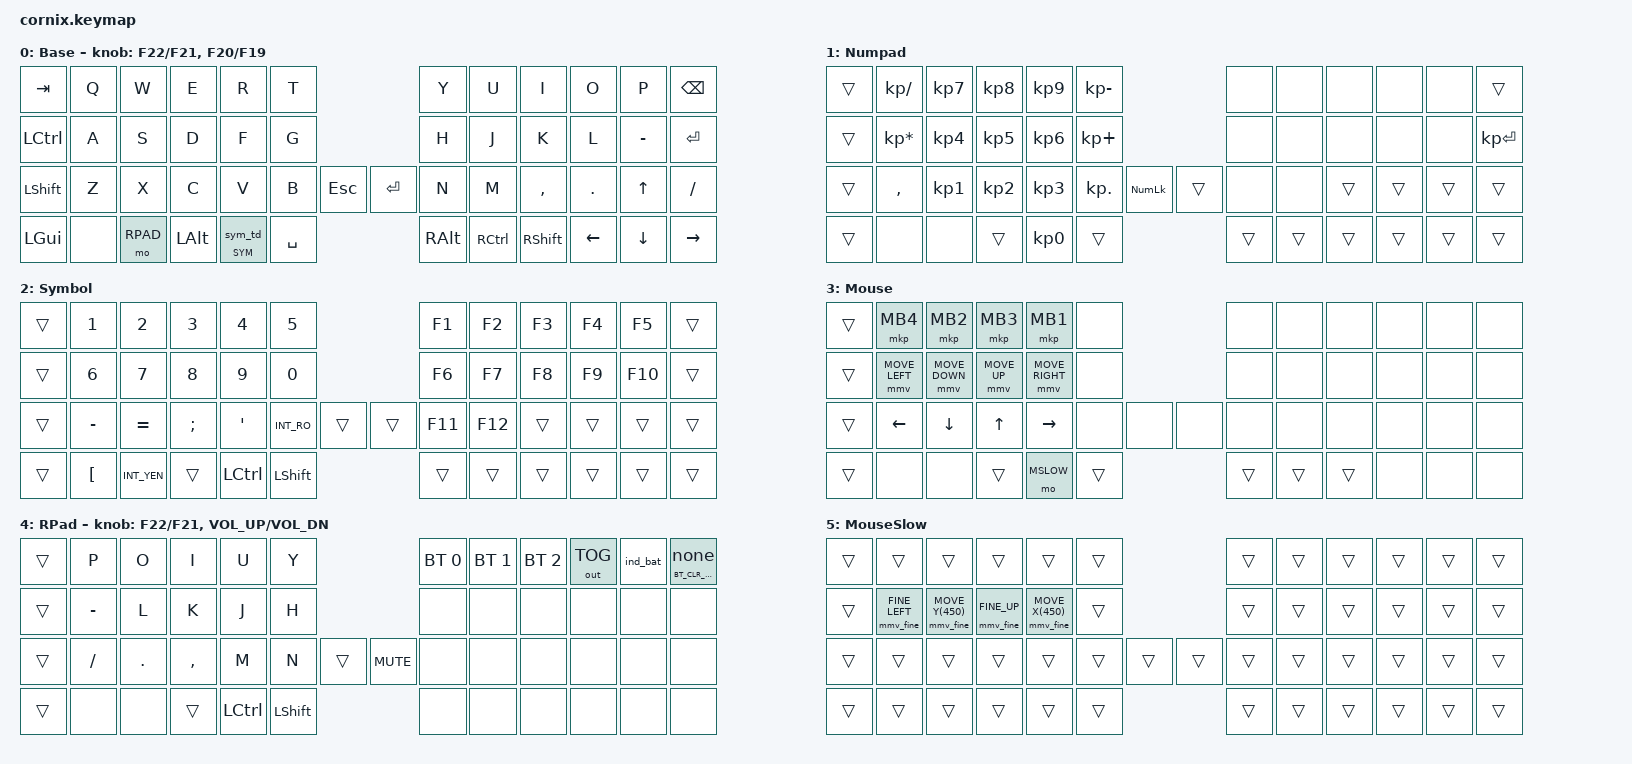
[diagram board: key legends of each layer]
/*
 * Cornix — Vial 配列からの移植
 * 元ファイル：vil/2026-09-09_cornix_vial.vil
 * 生成：scripts/vil2zmk.py（キー番号の対応は config/includes/cornix54.h の図を参照）
 * キー配置は .vil が元。変えた位置は vil2zmk.py の POS_OVERRIDE、コンボは COMBOS 表（.vil のコンボは使わない）
 * ZMK 側だけで足したもの：精密移動の層 MSLOW（EXTRA_LAYER_* / MOUSE_FINE_*）、コンボの誤爆ガード（COMBO_PRIOR_IDLE_MS）、加速スクロール（SCROLL_*）
 */

// マウスキーの通常の速度（pointing.h の MOVE_UP などが使う値）。include より前に書く
#define ZMK_POINTING_DEFAULT_MOVE_VAL 2000

#include <behaviors.dtsi>
#include <dt-bindings/zmk/bt.h>
#include <dt-bindings/zmk/keys.h>
#include <dt-bindings/zmk/outputs.h>
#include <dt-bindings/zmk/pointing.h>
#include <input/processors.dtsi>
#include <behaviors/rgbled_widget.dtsi>

#define BASE 0
#define NUMPAD 1
#define SYM 2
#define MOUSE 3
#define RPAD 4
#define MSLOW 5

// 加速スクロール（&ascrl）の向き。src/behaviors/behavior_accel_scroll.c と揃える
#define SCRL_ACCEL_UP 1
#define SCRL_ACCEL_DN 2

// マウスキー（通常）：150ms かけて 2000 px/秒まで上がる
&mmv {
    time-to-max-speed-ms = <150>;
    acceleration-exponent = <1>;
};

// マウスキー（精密）の向き。450 px/秒が上限
#define FINE_LEFT MOVE_X(-450)
#define FINE_RIGHT MOVE_X(450)
#define FINE_UP MOVE_Y(-450)
#define FINE_DOWN MOVE_Y(450)

/ {
    behaviors {
        // 誤操作でPCとのペアリングを消さないよう、3秒長押しでだけ Clear BT
        bt_clr_hold: bt_clr_hold {
            compatible = "zmk,behavior-hold-tap";
            #binding-cells = <2>;
            bindings = <&bt>, <&none>;
            flavor = "tap-preferred";
            tapping-term-ms = <3000>;
        };
        // 数・記号キー：外側が長押し判定、内側がタップダンス（2026-10-02 組み替え）
        //   長押し＝押している間 数・記号（別のキーを押した瞬間に確定）
        //   タップ＝次の1キーだけ 数・記号／2回タップ＝次の1キーだけ R pad
        // 次の1キーだけ有効な層。標準の &sl と違い、修飾キーを押しても切れない
        sl_m: sl_m {
            compatible = "zmk,behavior-sticky-key";
            #binding-cells = <1>;
            release-after-ms = <3000>;
            bindings = <&mo>;
            quick-release;
            ignore-modifiers;
        };
        sym_td: sym_td {
            compatible = "zmk,behavior-tap-dance";
            #binding-cells = <0>;
            tapping-term-ms = <300>;
            bindings = <&sl_m SYM>, <&sl_m RPAD>;
        };
        sym_ht: sym_ht {
            compatible = "zmk,behavior-hold-tap";
            #binding-cells = <2>;
            bindings = <&mo>, <&sym_td>;
            flavor = "hold-preferred";
            tapping-term-ms = <150>;
        };
        // 加速スクロール：単押しで 3 ノッチ。押し続けると 220ms 後から 40ms ごとに送り、
        // 1回の量が 360ms かけて 3 → 6 ノッチまで増える。離したら即停止
        ascrl: accel_scroll {
            compatible = "zmk,behavior-accel-scroll";
            #binding-cells = <1>;
            tap-notches = <3>;
            hold-delay-ms = <220>;
            interval-ms = <40>;
            start-notches = <3>;
            max-notches = <6>;
            ramp-ms = <360>;
        };
        // マウスキー（精密）：マウス層で 42 を押している間（MSLOW 層）の移動キー。
        // 500ms かけて 450 px/秒まで上がる。単押しなら数 px
        mmv_fine: mouse_move_fine {
            compatible = "zmk,behavior-input-two-axis";
            #binding-cells = <1>;
            x-input-code = <INPUT_REL_X>;
            y-input-code = <INPUT_REL_Y>;
            time-to-max-speed-ms = <500>;
            acceleration-exponent = <1>;
        };
    };

    // マウスキー（精密）の受け口。無いとホストに届かない
    mmv_fine_input_listener {
        compatible = "zmk,input-listener";
        device = <&mmv_fine>;
    };

    // 加速スクロールの受け口。無いとホストに届かない
    ascrl_input_listener {
        compatible = "zmk,input-listener";
        device = <&ascrl>;
    };

    combos {
        compatible = "zmk,combos";
        // W+E → 上スクロール（加速つき）
        combo_00 {
            timeout-ms = <40>;
            require-prior-idle-ms = <250>;
            key-positions = <2 3>;
            bindings = <&ascrl SCRL_ACCEL_UP>;
            layers = <BASE>;
        };
        // A+S → Esc。as はローマ字に多い（masu 等）ので必ずガード
        combo_01 {
            timeout-ms = <40>;
            require-prior-idle-ms = <250>;
            key-positions = <13 14>;
            bindings = <&kp ESC>;
            layers = <BASE>;
        };
        // S+D → 下スクロール（加速つき）
        combo_02 {
            timeout-ms = <40>;
            require-prior-idle-ms = <250>;
            key-positions = <14 15>;
            bindings = <&ascrl SCRL_ACCEL_DN>;
            layers = <BASE>;
        };
        // D+F → 無変換。ローマ字の直後に押す。df はローマ字に出ない（誤爆ガードなし）
        combo_03 {
            timeout-ms = <40>;
            key-positions = <15 16>;
            bindings = <&kp INT_MUHENKAN>;
            layers = <BASE>;
        };
        // Z+X → Del
        combo_04 {
            timeout-ms = <40>;
            require-prior-idle-ms = <250>;
            key-positions = <25 26>;
            bindings = <&kp DEL>;
            layers = <BASE>;
        };
        // X+C → BS。打ち間違いの直後に押す（誤爆ガードなし）
        combo_05 {
            timeout-ms = <40>;
            key-positions = <26 27>;
            bindings = <&kp BSPC>;
            layers = <BASE>;
        };
        // C+V → Enter。打ち終わった直後に確定（誤爆ガードなし）
        combo_06 {
            timeout-ms = <40>;
            key-positions = <27 28>;
            bindings = <&kp RET>;
            layers = <BASE>;
        };
        // X+C+V → Ctrl+Enter。誤爆すると送信してしまう
        combo_07 {
            timeout-ms = <60>;
            require-prior-idle-ms = <250>;
            key-positions = <26 27 28>;
            bindings = <&kp LC(RET)>;
            layers = <BASE>;
        };
        // S+D+F ／ 4+5+6 → Num pad 層 ON/OFF
        combo_08 {
            timeout-ms = <60>;
            require-prior-idle-ms = <250>;
            key-positions = <14 15 16>;
            bindings = <&tog NUMPAD>;
            layers = <BASE NUMPAD>;
        };
        // A+S+D+F ／ Left+Down+Up+Right → マウス層 ON/OFF
        combo_09 {
            timeout-ms = <60>;
            require-prior-idle-ms = <250>;
            key-positions = <13 14 15 16>;
            bindings = <&tog MOUSE>;
            layers = <BASE MOUSE MSLOW>;
        };
        // P+BS → Del
        combo_10 {
            timeout-ms = <40>;
            require-prior-idle-ms = <250>;
            key-positions = <10 11>;
            bindings = <&kp DEL>;
            layers = <BASE>;
        };
        // I+O → [（JIS）
        combo_11 {
            timeout-ms = <40>;
            require-prior-idle-ms = <250>;
            key-positions = <8 9>;
            bindings = <&kp RBKT>;
            layers = <BASE>;
        };
        // J+K → 変換。ローマ字の直後に押す。jk はローマ字に出ない（誤爆ガードなし）
        combo_12 {
            timeout-ms = <40>;
            key-positions = <19 20>;
            bindings = <&kp INT_HENKAN>;
            layers = <BASE>;
        };
        // K+L → ]（JIS）
        combo_13 {
            timeout-ms = <40>;
            require-prior-idle-ms = <250>;
            key-positions = <20 21>;
            bindings = <&kp NON_US_HASH>;
            layers = <BASE>;
        };
        // ,+. → @（JIS）
        combo_14 {
            timeout-ms = <40>;
            require-prior-idle-ms = <250>;
            key-positions = <34 35>;
            bindings = <&kp LBKT>;
            layers = <BASE NUMPAD SYM>;
        };
        // .+↑ → PgUp
        combo_15 {
            timeout-ms = <40>;
            require-prior-idle-ms = <250>;
            key-positions = <35 36>;
            bindings = <&kp PG_UP>;
            layers = <BASE NUMPAD SYM>;
        };
        // ↑+/ → PgDn
        combo_16 {
            timeout-ms = <40>;
            require-prior-idle-ms = <250>;
            key-positions = <36 37>;
            bindings = <&kp PG_DN>;
            layers = <BASE NUMPAD SYM>;
        };
        // ←+↓ → Home。矢印同士（誤爆ガードなし）
        combo_17 {
            timeout-ms = <40>;
            key-positions = <47 48>;
            bindings = <&kp HOME>;
            layers = <BASE NUMPAD SYM>;
        };
        // ↓+→ → End。矢印同士（誤爆ガードなし）
        combo_18 {
            timeout-ms = <40>;
            key-positions = <48 49>;
            bindings = <&kp END>;
            layers = <BASE NUMPAD SYM>;
        };
        // ,+1 → Del（誤爆ガードなし）
        combo_19 {
            timeout-ms = <40>;
            key-positions = <25 26>;
            bindings = <&kp DEL>;
            layers = <NUMPAD>;
        };
        // 1+2 → BS（誤爆ガードなし）
        combo_20 {
            timeout-ms = <40>;
            key-positions = <26 27>;
            bindings = <&kp BSPC>;
            layers = <NUMPAD>;
        };
        // 2+3 → Num Enter（誤爆ガードなし）
        combo_21 {
            timeout-ms = <40>;
            key-positions = <27 28>;
            bindings = <&kp KP_ENTER>;
            layers = <NUMPAD>;
        };
        // 1+2+3 → Ctrl+Enter（誤爆ガードなし）
        combo_22 {
            timeout-ms = <60>;
            key-positions = <26 27 28>;
            bindings = <&kp LC(RET)>;
            layers = <NUMPAD>;
        };
        // Click2+Click3 → 上スクロール（加速つき）（誤爆ガードなし）
        combo_23 {
            timeout-ms = <40>;
            key-positions = <2 3>;
            bindings = <&ascrl SCRL_ACCEL_UP>;
            layers = <MOUSE MSLOW>;
        };
        // Down+Up → 下スクロール（加速つき）（誤爆ガードなし）
        combo_24 {
            timeout-ms = <40>;
            key-positions = <14 15>;
            bindings = <&ascrl SCRL_ACCEL_DN>;
            layers = <MOUSE MSLOW>;
        };
        // Left+Down → Esc（Base の A+S と同じ位置。2026-11-13。左下の斜め移動は使えない）（誤爆ガードなし）
        combo_25 {
            timeout-ms = <40>;
            key-positions = <13 14>;
            bindings = <&kp ESC>;
            layers = <MOUSE MSLOW>;
        };
        // ←+↓ → Del（誤爆ガードなし）
        combo_26 {
            timeout-ms = <40>;
            key-positions = <25 26>;
            bindings = <&kp DEL>;
            layers = <MOUSE MSLOW>;
        };
        // ↓+↑ → BS（誤爆ガードなし）
        combo_27 {
            timeout-ms = <40>;
            key-positions = <26 27>;
            bindings = <&kp BSPC>;
            layers = <MOUSE MSLOW>;
        };
        // ↑+→ → Enter（誤爆ガードなし）
        combo_28 {
            timeout-ms = <40>;
            key-positions = <27 28>;
            bindings = <&kp RET>;
            layers = <MOUSE MSLOW>;
        };
        // ↓+↑+→ → Ctrl+Enter（誤爆ガードなし）
        combo_29 {
            timeout-ms = <60>;
            key-positions = <26 27 28>;
            bindings = <&kp LC(RET)>;
            layers = <MOUSE MSLOW>;
        };
        // P+O → [（JIS）
        combo_30 {
            timeout-ms = <40>;
            require-prior-idle-ms = <250>;
            key-positions = <1 2>;
            bindings = <&kp RBKT>;
            layers = <RPAD>;
        };
        // -+L → ]（JIS）
        combo_31 {
            timeout-ms = <40>;
            require-prior-idle-ms = <250>;
            key-positions = <13 14>;
            bindings = <&kp NON_US_HASH>;
            layers = <RPAD>;
        };
        // K+J → 変換（誤爆ガードなし）
        combo_32 {
            timeout-ms = <40>;
            key-positions = <15 16>;
            bindings = <&kp INT_HENKAN>;
            layers = <RPAD>;
        };
        // .+, → @（JIS）
        combo_33 {
            timeout-ms = <40>;
            require-prior-idle-ms = <250>;
            key-positions = <26 27>;
            bindings = <&kp LBKT>;
            layers = <RPAD>;
        };
    };

    keymap {
        compatible = "zmk,keymap";

        base_layer {
            display-name = "Base";
            bindings = <
&kp TAB        &kp Q          &kp W          &kp E          &kp R          &kp T                                        &kp Y          &kp U          &kp I          &kp O          &kp P          &kp BSPC
&kp LCTRL      &kp A          &kp S          &kp D          &kp F          &kp G                                        &kp H          &kp J          &kp K          &kp L          &kp MINUS      &kp RET
&kp LSHFT      &kp Z          &kp X          &kp C          &kp V          &kp B          &kp ESC        &kp RET        &kp N          &kp M          &kp COMMA      &kp DOT        &kp UP         &kp FSLH
&kp LGUI       &none          &mo RPAD       &kp LALT       &sym_ht SYM 0  &kp SPACE                                    &kp RALT       &kp RCTRL      &kp RSHFT      &kp LEFT       &kp DOWN       &kp RIGHT
            >;
            sensor-bindings = <&inc_dec_kp F22 F21 &inc_dec_kp F20 F19>;
        };

        numpad_layer {
            display-name = "Numpad";
            bindings = <
&trans           &kp KP_DIVIDE    &kp KP_N7        &kp KP_N8        &kp KP_N9        &kp KP_MINUS                                       &none            &none            &none            &none            &none            &trans
&trans           &kp KP_MULTIPLY  &kp KP_N4        &kp KP_N5        &kp KP_N6        &kp KP_PLUS                                        &none            &none            &none            &none            &none            &kp KP_ENTER
&trans           &kp COMMA        &kp KP_N1        &kp KP_N2        &kp KP_N3        &kp KP_DOT       &kp KP_NUMLOCK   &trans           &none            &none            &trans           &trans           &trans           &trans
&trans           &none            &none            &trans           &kp KP_N0        &trans                                             &trans           &trans           &trans           &trans           &trans           &trans
            >;
        };

        symbol_layer {
            display-name = "Symbol";
            bindings = <
&trans       &kp N1       &kp N2       &kp N3       &kp N4       &kp N5                                 &kp F1       &kp F2       &kp F3       &kp F4       &kp F5       &trans
&trans       &kp N6       &kp N7       &kp N8       &kp N9       &kp N0                                 &kp F6       &kp F7       &kp F8       &kp F9       &kp F10      &trans
&trans       &kp MINUS    &kp EQUAL    &kp SEMI     &kp SQT      &kp INT_RO   &trans       &trans       &kp F11      &kp F12      &trans       &trans       &trans       &trans
&trans       &kp LBKT     &kp INT_YEN  &trans       &kp LCTRL    &kp LSHFT                              &trans       &trans       &trans       &trans       &trans       &trans
            >;
        };

        mouse_layer {
            display-name = "Mouse";
            bindings = <
&trans           &mkp MB4         &mkp MB2         &mkp MB3         &mkp MB1         &none                                              &none            &none            &none            &none            &none            &none
&trans           &mmv MOVE_LEFT   &mmv MOVE_DOWN   &mmv MOVE_UP     &mmv MOVE_RIGHT  &none                                              &none            &none            &none            &none            &none            &none
&trans           &kp LEFT         &kp DOWN         &kp UP           &kp RIGHT        &none            &none            &none            &none            &none            &none            &none            &none            &none
&trans           &none            &none            &trans           &mo MSLOW        &trans                                             &trans           &trans           &trans           &none            &none            &none
            >;
        };

        rpad_layer {
            display-name = "RPad";
            bindings = <
&trans                     &kp P                      &kp O                      &kp I                      &kp U                      &kp Y                                                                            &bt BT_SEL 0               &bt BT_SEL 1               &bt BT_SEL 2               &out OUT_TOG               &ind_bat                   &bt_clr_hold BT_CLR_CMD 0
&trans                     &kp MINUS                  &kp L                      &kp K                      &kp J                      &kp H                                                                            &none                      &none                      &none                      &none                      &none                      &none
&trans                     &kp FSLH                   &kp DOT                    &kp COMMA                  &kp M                      &kp N                      &trans                     &kp C_MUTE                 &none                      &none                      &none                      &none                      &none                      &none
&trans                     &none                      &none                      &trans                     &kp LCTRL                  &kp LSHFT                                                                        &none                      &none                      &none                      &none                      &none                      &none
            >;
            sensor-bindings = <&inc_dec_kp F22 F21 &inc_dec_kp C_VOL_UP C_VOL_DN>;
        };

        mouseslow_layer {
            display-name = "MouseSlow";
            bindings = <
&trans  &trans  &trans  &trans  &trans  &trans  &trans  &trans  &trans  &trans  &trans  &trans
&trans  &mmv_fine FINE_LEFT  &mmv_fine FINE_DOWN  &mmv_fine FINE_UP  &mmv_fine FINE_RIGHT  &trans  &trans  &trans  &trans  &trans  &trans  &trans
&trans  &trans  &trans  &trans  &trans  &trans  &trans  &trans  &trans  &trans  &trans  &trans  &trans  &trans
&trans  &trans  &trans  &trans  &trans  &trans  &trans  &trans  &trans  &trans  &trans  &trans
            >;
        };
    };
};
